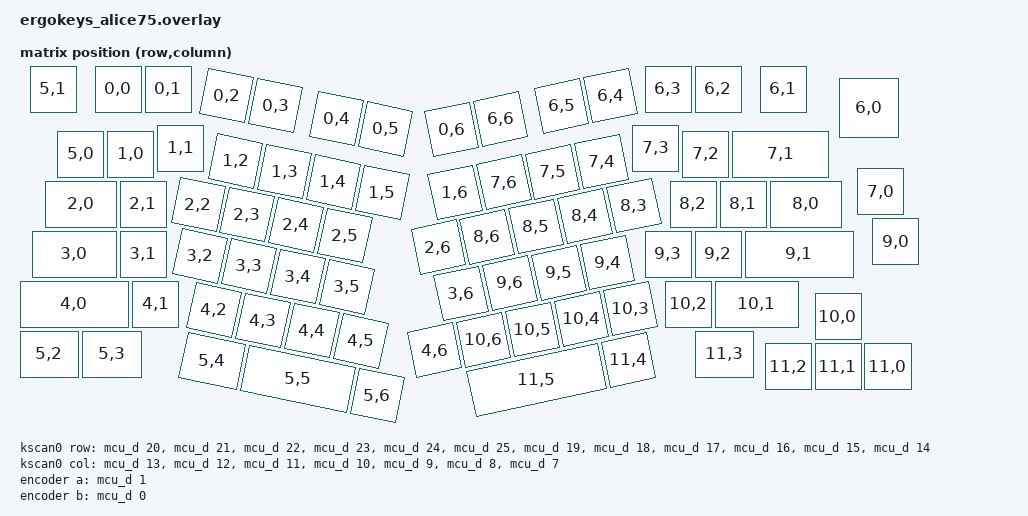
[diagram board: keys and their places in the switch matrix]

#include <dt-bindings/zmk/matrix_transform.h>
#include <dt-bindings/led/led.h>
#include <physical_layouts.dtsi>
#include <zephyr/dt-bindings/input/input-event-codes.h>
/* Reference: https://docs.zephyrproject.org/apidoc/latest/group__input__events.html */

#include <input/processors.dtsi>
#include <dt-bindings/zmk/input_transform.h>


#include "ergokeys_alice75_pinctrl.dtsi"

/ {
    chosen {
        zmk,physical-layout = &physical_layout0;
        zephyr,display = &oled;
    };

    physical_layout0: physical_layout_0 {
        compatible = "zmk,physical-layout";
        display-name = "default_transform";

        kscan = <&kscan>;
        transform = <&matrix_transform0>;

        keys  //                     w   h    x    y     rot    rx    ry
            = <&key_physical_attrs 100 100   20    0       0     0     0>
            , <&key_physical_attrs 100 100  150    0       0     0     0>
            , <&key_physical_attrs 100 100  250    0       0     0     0>
            , <&key_physical_attrs 100 100  320   98    1200   800   330>
            , <&key_physical_attrs 100 100  420   98    1200   800   330>
            , <&key_physical_attrs 100 100  545   98    1200   800   330>
            , <&key_physical_attrs 100 100  645   98    1200   800   330>
            , <&key_physical_attrs 100 100  855  100 (-1200)   795   320>
            , <&key_physical_attrs 100 100  955  100 (-1200)   795   320>
            , <&key_physical_attrs 100 100 1080  100 (-1200)   795   320>
            , <&key_physical_attrs 100 100 1180  100 (-1200)   795   320>
            , <&key_physical_attrs 100 100 1250    0       0     0     0>
            , <&key_physical_attrs 100 100 1350    0       0     0     0>
            , <&key_physical_attrs 100 100 1480    0       0     0     0>
            , <&key_physical_attrs 125 125 1640   25       0     0     0>
            , <&key_physical_attrs 100 100   75  130       0     0     0>
            , <&key_physical_attrs 100 100  175  130       0     0     0>
            , <&key_physical_attrs 100 100  275  118       0     0     0>
            , <&key_physical_attrs 100 100  365  223    1200   800   330>
            , <&key_physical_attrs 100 100  465  223    1200   800   330>
            , <&key_physical_attrs 100 100  565  223    1200   800   330>
            , <&key_physical_attrs 100 100  665  223    1200   800   330>
            , <&key_physical_attrs 100 100  835  225 (-1200)   795   320>
            , <&key_physical_attrs 100 100  935  225 (-1200)   795   320>
            , <&key_physical_attrs 100 100 1035  225 (-1200)   795   320>
            , <&key_physical_attrs 100 100 1135  225 (-1200)   795   320>
            , <&key_physical_attrs 100 100 1225  118       0     0     0>
            , <&key_physical_attrs 100 100 1325  130       0     0     0>
            , <&key_physical_attrs 200 100 1425  130       0     0     0>
            , <&key_physical_attrs 150 100   50  230       0     0     0>
            , <&key_physical_attrs 100 100  200  230       0     0     0>
            , <&key_physical_attrs 100 100  310  323    1200   800   330>
            , <&key_physical_attrs 100 100  410  323    1200   800   330>
            , <&key_physical_attrs 100 100  510  323    1200   800   330>
            , <&key_physical_attrs 100 100  610  323    1200   800   330>
            , <&key_physical_attrs 100 100  780  325 (-1200)   795   320>
            , <&key_physical_attrs 100 100  880  325 (-1200)   795   320>
            , <&key_physical_attrs 100 100  980  325 (-1200)   795   320>
            , <&key_physical_attrs 100 100 1080  325 (-1200)   795   320>
            , <&key_physical_attrs 100 100 1180  325 (-1200)   795   320>
            , <&key_physical_attrs 100 100 1300  230       0     0     0>
            , <&key_physical_attrs 100 100 1400  230       0     0     0>
            , <&key_physical_attrs 150 100 1500  230       0     0     0>
            , <&key_physical_attrs 100 100 1675  205       0     0     0>
            , <&key_physical_attrs 175 100   25  330       0     0     0>
            , <&key_physical_attrs 100 100  200  330       0     0     0>
            , <&key_physical_attrs 100 100  335  423    1200   800   330>
            , <&key_physical_attrs 100 100  435  423    1200   800   330>
            , <&key_physical_attrs 100 100  535  423    1200   800   330>
            , <&key_physical_attrs 100 100  635  423    1200   800   330>
            , <&key_physical_attrs 100 100  805  425 (-1200)   795   320>
            , <&key_physical_attrs 100 100  905  425 (-1200)   795   320>
            , <&key_physical_attrs 100 100 1005  425 (-1200)   795   320>
            , <&key_physical_attrs 100 100 1105  425 (-1200)   795   320>
            , <&key_physical_attrs 100 100 1250  330       0     0     0>
            , <&key_physical_attrs 100 100 1350  330       0     0     0>
            , <&key_physical_attrs 225 100 1450  330       0     0     0>
            , <&key_physical_attrs 100 100 1705  305       0     0     0>
            , <&key_physical_attrs 225 100    0  430       0     0     0>
            , <&key_physical_attrs 100 100  225  430       0     0     0>
            , <&key_physical_attrs 100 100  385  523    1200   800   330>
            , <&key_physical_attrs 100 100  485  523    1200   800   330>
            , <&key_physical_attrs 100 100  585  523    1200   800   330>
            , <&key_physical_attrs 100 100  685  523    1200   800   330>
            , <&key_physical_attrs 100 100  730  525 (-1200)   795   320>
            , <&key_physical_attrs 100 100  830  525 (-1200)   795   320>
            , <&key_physical_attrs 100 100  930  525 (-1200)   795   320>
            , <&key_physical_attrs 100 100 1030  525 (-1200)   795   320>
            , <&key_physical_attrs 100 100 1130  525 (-1200)   795   320>
            , <&key_physical_attrs 100 100 1290  430       0     0     0>
            , <&key_physical_attrs 175 100 1390  430       0     0     0>
            , <&key_physical_attrs 100 100 1590  455       0     0     0>
            , <&key_physical_attrs 125 100    0  530       0     0     0>
            , <&key_physical_attrs 125 100  125  530       0     0     0>
            , <&key_physical_attrs 125 100  390  623    1200   800   330>
            , <&key_physical_attrs 225 100  515  623    1200   800   330>
            , <&key_physical_attrs 100 100  740  623    1200   800   330>
            , <&key_physical_attrs 275 100  830  625 (-1200)   795   320>
            , <&key_physical_attrs 100 100 1105  625 (-1200)   795   320>
            , <&key_physical_attrs 125 100 1350  530       0     0     0>
            , <&key_physical_attrs 100 100 1490  555       0     0     0>
            , <&key_physical_attrs 100 100 1590  555       0     0     0>
            , <&key_physical_attrs 100 100 1690  555       0     0     0>
            ;
    };

    matrix_transform0: matrix_transform0 {
        compatible = "zmk,matrix-transform";
        columns = <7>;
        rows = <12>;          

        map = <
            RC(5,1)   RC(0,0)  RC(0,1)  RC(0,2)  RC(0,3)  RC(0,4)  RC(0,5)        RC(0,6)  RC(6,6)  RC(6,5)  RC(6,4)  RC(6,3)  RC(6,2)  RC(6,1)      RC(6,0)
            RC(5,0)    RC(1,0)  RC(1,1)  RC(1,2)  RC(1,3)  RC(1,4)  RC(1,5)        RC(1,6)  RC(7,6)  RC(7,5)  RC(7,4)  RC(7,3)  RC(7,2)     RC(7,1)
            RC(2,0)     RC(2,1)    RC(2,2)  RC(2,3)  RC(2,4)  RC(2,5)          RC(2,6)  RC(8,6)  RC(8,5)  RC(8,4)  RC(8,3)  RC(8,2)  RC(8,1)  RC(8,0)    RC(7,0)
            RC(3,0)      RC(3,1)    RC(3,2)  RC(3,3)  RC(3,4)  RC(3,5)           RC(3,6)  RC(9,6)  RC(9,5)  RC(9,4)        RC(9,3)  RC(9,2)    RC(9,1)     RC(9,0)
            RC(4,0)       RC(4,1)    RC(4,2)  RC(4,3)  RC(4,4)  RC(4,5)    RC(4,6)  RC(10,6)  RC(10,5)  RC(10,4)  RC(10,3)  RC(10,2)  RC(10,1)     RC(10,0)
            RC(5,2)  RC(5,3)       RC(5,4)         RC(5,5)        RC(5,6)                 RC(11,5)            RC(11,4)      RC(11,3)     RC(11,2)  RC(11,1)  RC(11,0)
        >;
    };

    kscan: kscan {
        compatible = "zmk,kscan-composite";
        label = "KSCAN";
        rows = <12>;
        columns = <7>;
        wakeup-source;
        key {
            kscan = <&kscan0>;
        };

    };

    kscan0: kscan0 {
        compatible = "zmk,kscan-gpio-matrix";
        label = "KSCAN_KEY";
        wakeup-source;
        diode-direction = "col2row";
        col-gpios
            = <&mcu_d 13  (GPIO_ACTIVE_HIGH)>
            , <&mcu_d 12  (GPIO_ACTIVE_HIGH) >
            , <&mcu_d 11  (GPIO_ACTIVE_HIGH)>
            , <&mcu_d 10  (GPIO_ACTIVE_HIGH)>
            , <&mcu_d 9   (GPIO_ACTIVE_HIGH)>
            , <&mcu_d 8   (GPIO_ACTIVE_HIGH)>
            , <&mcu_d 7   (GPIO_ACTIVE_HIGH)>
            ;
        row-gpios
            = <&mcu_d 20 (GPIO_ACTIVE_HIGH | GPIO_PULL_DOWN)>
            , <&mcu_d 21 (GPIO_ACTIVE_HIGH | GPIO_PULL_DOWN)>
            , <&mcu_d 22 (GPIO_ACTIVE_HIGH | GPIO_PULL_DOWN)>
            , <&mcu_d 23 (GPIO_ACTIVE_HIGH | GPIO_PULL_DOWN)>
            , <&mcu_d 24 (GPIO_ACTIVE_HIGH | GPIO_PULL_DOWN)>
            , <&mcu_d 25 (GPIO_ACTIVE_HIGH | GPIO_PULL_DOWN)>
            , <&mcu_d 19 (GPIO_ACTIVE_HIGH | GPIO_PULL_DOWN)>
            , <&mcu_d 18 (GPIO_ACTIVE_HIGH | GPIO_PULL_DOWN)>
            , <&mcu_d 17 (GPIO_ACTIVE_HIGH | GPIO_PULL_DOWN)>
            , <&mcu_d 16 (GPIO_ACTIVE_HIGH | GPIO_PULL_DOWN)>
            , <&mcu_d 15 (GPIO_ACTIVE_HIGH | GPIO_PULL_DOWN)>
            , <&mcu_d 14 (GPIO_ACTIVE_HIGH | GPIO_PULL_DOWN)>
            ;

    };

    encoder: encoder {
        compatible = "alps,ec11";

        a-gpios = <&mcu_d 1 (GPIO_ACTIVE_HIGH | GPIO_PULL_UP)>;
        b-gpios = <&mcu_d 0 (GPIO_ACTIVE_HIGH | GPIO_PULL_UP)>;
        steps = <12>;
        status = "okay";

    };

    sensors: sensors {
        compatible = "zmk,keymap-sensors";
        sensors = <&encoder>;
        triggers-per-rotation = <10>;
    };


};

&i2c0 {
    compatible = "nordic,nrf-twi";
    pinctrl-0 = <&i2c0_default>;
    pinctrl-1 = <&i2c0_sleep>;
    pinctrl-names = "default", "sleep";
    status = "okay";
    
    oled: ssd1306@3c {
        compatible = "solomon,ssd1306fb";
        reg = <0x3c>;
        width = <128>;
        height = <32>;
        segment-offset = <0>;
        page-offset = <0>;
        display-offset = <0>;
        multiplex-ratio = <31>;
        segment-remap;
        com-invdir;
        com-sequential;
        inversion-on;
        prechargep = <0x22>;
    };

};

&uart0 {
    compatible = "nordic,nrf-uarte";
    current-speed = <115200>;
    pinctrl-0 = <&uart0_default>;
    pinctrl-1 = <&uart0_sleep>;
    pinctrl-names = "default", "sleep";
    status="disabled";
};

&adc {
	status = "okay";
};

/ {
	anin0: analog_input_0 {
		compatible = "zmk,analog-input";
		sampling-hz = <1000>;
		y-ch {
			io-channels = <&adc 1>;
			mv-mid = <1540>;
			mv-min-max = <300>;
			mv-deadzone = <50>;
			scale-multiplier = <1>;
			scale-divisor = <1>;
			evt-type = <INPUT_EV_REL>;
			input-code = <INPUT_REL_Y>;
		};
		x-ch {
			io-channels = <&adc 0>;
			mv-mid = <1580>;
			mv-min-max = <300>;
			mv-deadzone = <50>;
			scale-multiplier = <1>;
			scale-divisor = <1>;
			evt-type = <INPUT_EV_REL>;
			input-code = <INPUT_REL_X>;
		};

	};
};

/ {
    joystick_listener {
        compatible = "zmk,input-listener";
        device = <&anin0>;
        input-processors = <&zip_xy_scaler 1 120>;

        sniper {
            layers = <1>;
            input-processors = <&zip_xy_scaler 1 500>;
        };

        scroller {
            layers = <2>;
            input-processors 
                = <&zip_xy_to_scroll_mapper>
                , <&zip_scroll_transform (INPUT_TRANSFORM_Y_INVERT)>
                , <&zip_scroll_scaler 1 10>;
        };
    };
};
